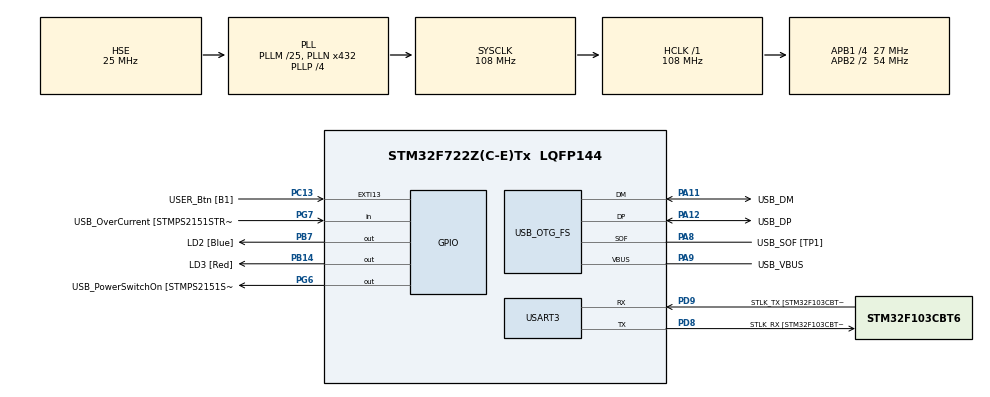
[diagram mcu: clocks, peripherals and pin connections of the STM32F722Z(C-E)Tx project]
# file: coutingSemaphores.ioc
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FREERTOS.Tasks01=defaultTask,0,128,StartDefaultTask,Default,NULL
FREERTOS.configUSE_COUNTING_SEMAPHORES=1
Mcu.Family=STM32F7
Mcu.Name=STM32F722Z(C-E)Tx
Mcu.Package=LQFP144
NVIC.PriorityGroup=NVIC_PRIORITYGROUP_4
NVIC.TIM1_UP_TIM10_IRQn=true\:0\:0\:false\:false\:true\:false\:false
NVIC.TIM8_UP_TIM13_IRQn=true\:5\:0\:false\:false\:true\:true\:true
NVIC.TimeBase=TIM1_UP_TIM10_IRQn
NVIC.TimeBaseIP=TIM1
PA10.GPIO_Label=USB_ID
PA10.Signal=USB_OTG_FS_ID
PA11.GPIO_Label=USB_DM
PA11.Mode=Device_Only
PA11.Signal=USB_OTG_FS_DM
PA12.GPIO_Label=USB_DP
PA12.Mode=Device_Only
PA12.Signal=USB_OTG_FS_DP
PA13.GPIO_Label=TMS
PA13.Mode=Serial_Wire
PA13.Signal=SYS_JTMS-SWDIO
PA14.GPIO_Label=TCK
PA14.Mode=Serial_Wire
PA14.Signal=SYS_JTCK-SWCLK
PA8.GPIO_Label=USB_SOF [TP1]
PA8.Mode=Activate_SOF_FS
PA8.Signal=USB_OTG_FS_SOF
PA9.GPIO_Label=USB_VBUS
PA9.Mode=Activate_VBUS
PA9.Signal=USB_OTG_FS_VBUS
PB14.GPIO_Label=LD3 [Red]
PB14.Signal=GPIO_Output
PB3.GPIO_Label=SWO
PB3.Signal=SYS_JTDO-SWO
PB7.GPIO_Label=LD2 [Blue]
PB7.Signal=GPIO_Output
PC13.GPIO_Label=USER_Btn [B1]
PC13.Signal=GPXTI13
PC14-OSC32_IN.Mode=LSE-External-Oscillator
PC14-OSC32_IN.Signal=RCC_OSC32_IN
PC15-OSC32_OUT.Mode=LSE-External-Oscillator
PC15-OSC32_OUT.Signal=RCC_OSC32_OUT
PD8.GPIO_Label=STLK_RX [STM32F103CBT6_PA3]
PD8.Mode=Asynchronous
PD8.Signal=USART3_TX
PD9.GPIO_Label=STLK_TX [STM32F103CBT6_PA2]
PD9.Mode=Asynchronous
PD9.Signal=USART3_RX
PG6.GPIO_Label=USB_PowerSwitchOn [STMPS2151STR_EN]
PG6.Signal=GPIO_Output
PG7.GPIO_Label=USB_OverCurrent [STMPS2151STR_FAULT]
PG7.Signal=GPIO_Input
PH0-OSC_IN.GPIO_Label=MCO
PH0-OSC_IN.Mode=HSE-External-Clock-Source
PH0-OSC_IN.Signal=RCC_OSC_IN
PH1-OSC_OUT.Mode=HSE-External-Clock-Source
PH1-OSC_OUT.Signal=RCC_OSC_OUT
ProjectManager.HeapSize=0x200
ProjectManager.StackSize=0x400
ProjectManager.TargetToolchain=SW4STM32
RCC.48MHZClocksFreq_Value=24000000
RCC.AHBFreq_Value=108000000
RCC.APB1CLKDivider=RCC_HCLK_DIV4
RCC.APB1Freq_Value=27000000
RCC.APB1TimFreq_Value=54000000
RCC.APB2CLKDivider=RCC_HCLK_DIV2
RCC.APB2Freq_Value=54000000
RCC.APB2TimFreq_Value=108000000
RCC.CortexFreq_Value=108000000
RCC.HCLKFreq_Value=108000000
RCC.HSE_VALUE=25000000
RCC.HSI_VALUE=16000000
RCC.PLLM=25
RCC.PLLMUL=RCC_PLL_MUL9
RCC.PLLN=432
RCC.PLLP=RCC_PLLP_DIV4
RCC.PLLQ=9
RCC.PRESCALERUSB=RCC_USBCLKSOURCE_PLL_DIV1_5
RCC.SYSCLKFreq_VALUE=108000000
RCC.SYSCLKSource=RCC_SYSCLKSOURCE_PLLCLK
RCC.SYSCLKSourceVirtual=RCC_SYSCLKSOURCE_PLLCLK
RCC.USBFreq_Value=48000000
RCC.VCOOutputFreq_Value=432000000
TIM13.Period=9999
TIM13.Prescaler=1799
USART3.VirtualMode-Asynchronous=VM_ASYNC
USB_OTG_FS.VirtualMode=Device_Only
VP_FREERTOS_VS_ENABLE.Mode=Enabled
VP_SYS_VS_tim1.Mode=TIM1
VP_TIM13_VS_ClockSourceINT.Mode=Enable_Timer
board=NUCLEO-F722ZE

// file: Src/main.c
/**
  ******************************************************************************
  * @file           : main.c
  * @brief          : Main program body
  ******************************************************************************
  * This notice applies to any and all portions of this file
  * that are not between comment pairs USER CODE BEGIN and
  * USER CODE END. Other portions of this file, whether
  * inserted by the user or by software development tools
  * are owned by their respective copyright owners.
  *
  * Copyright (c) 2018 STMicroelectronics International N.V.
  * All rights reserved.
  *
  * Redistribution and use in source and binary forms, with or without
  * modification, are permitted, provided that the following conditions are met:
  *
  * 1. Redistribution of source code must retain the above copyright notice,
  *    this list of conditions and the following disclaimer.
  * 2. Redistributions in binary form must reproduce the above copyright notice,
  *    this list of conditions and the following disclaimer in the documentation
  *    and/or other materials provided with the distribution.
  * 3. Neither the name of STMicroelectronics nor the names of other
  *    contributors to this software may be used to endorse or promote products
  *    derived from this software without specific written permission.
  * 4. This software, including modifications and/or derivative works of this
  *    software, must execute solely and exclusively on microcontroller or
  *    microprocessor devices manufactured by or for STMicroelectronics.
  * 5. Redistribution and use of this software other than as permitted under
  *    this license is void and will automatically terminate your rights under
  *    this license.
  *
  * THIS SOFTWARE IS PROVIDED BY STMICROELECTRONICS AND CONTRIBUTORS "AS IS"
  * AND ANY EXPRESS, IMPLIED OR STATUTORY WARRANTIES, INCLUDING, BUT NOT
  * LIMITED TO, THE IMPLIED WARRANTIES OF MERCHANTABILITY, FITNESS FOR A
  * PARTICULAR PURPOSE AND NON-INFRINGEMENT OF THIRD PARTY INTELLECTUAL PROPERTY
  * RIGHTS ARE DISCLAIMED TO THE FULLEST EXTENT PERMITTED BY LAW. IN NO EVENT
  * SHALL STMICROELECTRONICS OR CONTRIBUTORS BE LIABLE FOR ANY DIRECT, INDIRECT,
  * INCIDENTAL, SPECIAL, EXEMPLARY, OR CONSEQUENTIAL DAMAGES (INCLUDING, BUT NOT
  * LIMITED TO, PROCUREMENT OF SUBSTITUTE GOODS OR SERVICES; LOSS OF USE, DATA,
  * OR PROFITS; OR BUSINESS INTERRUPTION) HOWEVER CAUSED AND ON ANY THEORY OF
  * LIABILITY, WHETHER IN CONTRACT, STRICT LIABILITY, OR TORT (INCLUDING
  * NEGLIGENCE OR OTHERWISE) ARISING IN ANY WAY OUT OF THE USE OF THIS SOFTWARE,
  * EVEN IF ADVISED OF THE POSSIBILITY OF SUCH DAMAGE.
  *
  ******************************************************************************
  */
#include "main.h"
#include "stm32f7xx_hal.h"
#include "cmsis_os.h"

/* USER CODE BEGIN Includes */
#include <IL_debug.h>
#include <string.h>
/* USER CODE END Includes */

TIM_HandleTypeDef htim13;

UART_HandleTypeDef huart3;

PCD_HandleTypeDef hpcd_USB_OTG_FS;

osThreadId defaultTaskHandle;

/* USER CODE BEGIN PV */
/* Private variables ---------------------------------------------------------*/
void * xCoutingSemaphore;
static void vHandlerTask(void * param);
/* USER CODE END PV */

void SystemClock_Config(void);
static void MX_GPIO_Init(void);
static void MX_USART3_UART_Init(void);
static void MX_USB_OTG_FS_PCD_Init(void);
static void MX_TIM13_Init(void);
void StartDefaultTask(void const * argument);

/* USER CODE BEGIN PFP */
/* Private function prototypes -----------------------------------------------*/

/* USER CODE END PFP */

int main(void)
{

  /* MCU Configuration----------------------------------------------------------*/

  /* Reset of all peripherals, Initializes the Flash interface and the Systick. */
  HAL_Init();

  /* Configure the system clock */
  SystemClock_Config();

  /* Initialize all configured peripherals */
  MX_GPIO_Init();
  MX_USART3_UART_Init();
  MX_USB_OTG_FS_PCD_Init();
  MX_TIM13_Init();

  /* USER CODE BEGIN RTOS_SEMAPHORES */
  /* add semaphores, ... */
  xCoutingSemaphore = xSemaphoreCreateCounting(10, 0);
  HAL_TIM_Base_Start_IT(&htim13);
  /* USER CODE END RTOS_SEMAPHORES */

  /* Create the thread(s) */
  /* definition and creation of defaultTask */
  osThreadDef(defaultTask, StartDefaultTask, osPriorityNormal, 0, 128);
  defaultTaskHandle = osThreadCreate(osThread(defaultTask), NULL);

  /* USER CODE BEGIN RTOS_THREADS */
  /* add threads, ... */
  xTaskCreate(vHandlerTask, "handler", 254, NULL,3, NULL);
  /* USER CODE END RTOS_THREADS */

  /* Start scheduler */
  osKernelStart();

  /* We should never get here as control is now taken by the scheduler */

  /* Infinite loop */
  while (1)
  {

  }

}

void SystemClock_Config(void)
{

  RCC_OscInitTypeDef RCC_OscInitStruct;
  RCC_ClkInitTypeDef RCC_ClkInitStruct;
  RCC_PeriphCLKInitTypeDef PeriphClkInitStruct;

    /**Configure the main internal regulator output voltage
    */
  __HAL_RCC_PWR_CLK_ENABLE();

  __HAL_PWR_VOLTAGESCALING_CONFIG(PWR_REGULATOR_VOLTAGE_SCALE3);

    /**Initializes the CPU, AHB and APB busses clocks
    */
  RCC_OscInitStruct.OscillatorType = RCC_OSCILLATORTYPE_HSE;
  RCC_OscInitStruct.HSEState = RCC_HSE_BYPASS;
  RCC_OscInitStruct.PLL.PLLState = RCC_PLL_ON;
  RCC_OscInitStruct.PLL.PLLSource = RCC_PLLSOURCE_HSE;
  RCC_OscInitStruct.PLL.PLLM = 25;
  RCC_OscInitStruct.PLL.PLLN = 432;
  RCC_OscInitStruct.PLL.PLLP = RCC_PLLP_DIV4;
  RCC_OscInitStruct.PLL.PLLQ = 9;
  if (HAL_RCC_OscConfig(&RCC_OscInitStruct) != HAL_OK)
  {
    _Error_Handler(__FILE__, __LINE__);
  }

    /**Initializes the CPU, AHB and APB busses clocks
    */
  RCC_ClkInitStruct.ClockType = RCC_CLOCKTYPE_HCLK|RCC_CLOCKTYPE_SYSCLK
                              |RCC_CLOCKTYPE_PCLK1|RCC_CLOCKTYPE_PCLK2;
  RCC_ClkInitStruct.SYSCLKSource = RCC_SYSCLKSOURCE_PLLCLK;
  RCC_ClkInitStruct.AHBCLKDivider = RCC_SYSCLK_DIV1;
  RCC_ClkInitStruct.APB1CLKDivider = RCC_HCLK_DIV4;
  RCC_ClkInitStruct.APB2CLKDivider = RCC_HCLK_DIV2;

  if (HAL_RCC_ClockConfig(&RCC_ClkInitStruct, FLASH_LATENCY_3) != HAL_OK)
  {
    _Error_Handler(__FILE__, __LINE__);
  }

  PeriphClkInitStruct.PeriphClockSelection = RCC_PERIPHCLK_USART3|RCC_PERIPHCLK_CLK48;
  PeriphClkInitStruct.Usart3ClockSelection = RCC_USART3CLKSOURCE_PCLK1;
  PeriphClkInitStruct.Clk48ClockSelection = RCC_CLK48SOURCE_PLL;
  if (HAL_RCCEx_PeriphCLKConfig(&PeriphClkInitStruct) != HAL_OK)
  {
    _Error_Handler(__FILE__, __LINE__);
  }

    /**Configure the Systick interrupt time
    */
  HAL_SYSTICK_Config(HAL_RCC_GetHCLKFreq()/1000);

    /**Configure the Systick
    */
  HAL_SYSTICK_CLKSourceConfig(SYSTICK_CLKSOURCE_HCLK);

  /* SysTick_IRQn interrupt configuration */
  HAL_NVIC_SetPriority(SysTick_IRQn, 15, 0);
}

/* TIM13 init function */
static void MX_TIM13_Init(void)
{

  htim13.Instance = TIM13;
  htim13.Init.Prescaler = 1799;
  htim13.Init.CounterMode = TIM_COUNTERMODE_UP;
  htim13.Init.Period = 9999;
  htim13.Init.ClockDivision = TIM_CLOCKDIVISION_DIV1;
  htim13.Init.AutoReloadPreload = TIM_AUTORELOAD_PRELOAD_DISABLE;
  if (HAL_TIM_Base_Init(&htim13) != HAL_OK)
  {
    _Error_Handler(__FILE__, __LINE__);
  }

}

/* USART3 init function */
static void MX_USART3_UART_Init(void)
{

  huart3.Instance = USART3;
  huart3.Init.BaudRate = 115200;
  huart3.Init.WordLength = UART_WORDLENGTH_7B;
  huart3.Init.StopBits = UART_STOPBITS_1;
  huart3.Init.Parity = UART_PARITY_NONE;
  huart3.Init.Mode = UART_MODE_TX_RX;
  huart3.Init.HwFlowCtl = UART_HWCONTROL_NONE;
  huart3.Init.OverSampling = UART_OVERSAMPLING_16;
  huart3.Init.OneBitSampling = UART_ONE_BIT_SAMPLE_DISABLE;
  huart3.AdvancedInit.AdvFeatureInit = UART_ADVFEATURE_NO_INIT;
  if (HAL_UART_Init(&huart3) != HAL_OK)
  {
    _Error_Handler(__FILE__, __LINE__);
  }

}

/* USB_OTG_FS init function */
static void MX_USB_OTG_FS_PCD_Init(void)
{

  hpcd_USB_OTG_FS.Instance = USB_OTG_FS;
  hpcd_USB_OTG_FS.Init.dev_endpoints = 6;
  hpcd_USB_OTG_FS.Init.dma_enable = DISABLE;
  hpcd_USB_OTG_FS.Init.ep0_mps = DEP0CTL_MPS_64;
  hpcd_USB_OTG_FS.Init.phy_itface = PCD_PHY_EMBEDDED;
  hpcd_USB_OTG_FS.Init.Sof_enable = ENABLE;
  hpcd_USB_OTG_FS.Init.low_power_enable = DISABLE;
  hpcd_USB_OTG_FS.Init.lpm_enable = DISABLE;
  hpcd_USB_OTG_FS.Init.battery_charging_enable = ENABLE;
  hpcd_USB_OTG_FS.Init.vbus_sensing_enable = ENABLE;
  hpcd_USB_OTG_FS.Init.use_dedicated_ep1 = DISABLE;
  if (HAL_PCD_Init(&hpcd_USB_OTG_FS) != HAL_OK)
  {
    _Error_Handler(__FILE__, __LINE__);
  }

}

/** Configure pins as
        * Analog
        * Input
        * Output
        * EVENT_OUT
        * EXTI
*/
static void MX_GPIO_Init(void)
{

  GPIO_InitTypeDef GPIO_InitStruct;

  /* GPIO Ports Clock Enable */
  __HAL_RCC_GPIOC_CLK_ENABLE();
  __HAL_RCC_GPIOH_CLK_ENABLE();
  __HAL_RCC_GPIOB_CLK_ENABLE();
  __HAL_RCC_GPIOD_CLK_ENABLE();
  __HAL_RCC_GPIOG_CLK_ENABLE();
  __HAL_RCC_GPIOA_CLK_ENABLE();

  /*Configure GPIO pin Output Level */
  HAL_GPIO_WritePin(GPIOB, LD3_Pin|LD2_Pin, GPIO_PIN_RESET);

  /*Configure GPIO pin Output Level */
  HAL_GPIO_WritePin(USB_PowerSwitchOn_GPIO_Port, USB_PowerSwitchOn_Pin, GPIO_PIN_RESET);

  /*Configure GPIO pin : USER_Btn_Pin */
  GPIO_InitStruct.Pin = USER_Btn_Pin;
  GPIO_InitStruct.Mode = GPIO_MODE_IT_RISING;
  GPIO_InitStruct.Pull = GPIO_NOPULL;
  HAL_GPIO_Init(USER_Btn_GPIO_Port, &GPIO_InitStruct);

  /*Configure GPIO pins : LD3_Pin LD2_Pin */
  GPIO_InitStruct.Pin = LD3_Pin|LD2_Pin;
  GPIO_InitStruct.Mode = GPIO_MODE_OUTPUT_PP;
  GPIO_InitStruct.Pull = GPIO_NOPULL;
  GPIO_InitStruct.Speed = GPIO_SPEED_FREQ_LOW;
  HAL_GPIO_Init(GPIOB, &GPIO_InitStruct);

  /*Configure GPIO pin : USB_PowerSwitchOn_Pin */
  GPIO_InitStruct.Pin = USB_PowerSwitchOn_Pin;
  GPIO_InitStruct.Mode = GPIO_MODE_OUTPUT_PP;
  GPIO_InitStruct.Pull = GPIO_NOPULL;
  GPIO_InitStruct.Speed = GPIO_SPEED_FREQ_LOW;
  HAL_GPIO_Init(USB_PowerSwitchOn_GPIO_Port, &GPIO_InitStruct);

  /*Configure GPIO pin : USB_OverCurrent_Pin */
  GPIO_InitStruct.Pin = USB_OverCurrent_Pin;
  GPIO_InitStruct.Mode = GPIO_MODE_INPUT;
  GPIO_InitStruct.Pull = GPIO_NOPULL;
  HAL_GPIO_Init(USB_OverCurrent_GPIO_Port, &GPIO_InitStruct);

}

/* USER CODE BEGIN 4 */
static void vHandlerTask(void * param)
{
	xSemaphoreTake(xCoutingSemaphore,0);
	for(;;)
	{
		xSemaphoreTake(xCoutingSemaphore, portMAX_DELAY);
		char * str = "Handler\n";
		_write(str, strlen(str));
	}
}
/* USER CODE END 4 */

/* StartDefaultTask function */
void StartDefaultTask(void const * argument)
{

  for(;;)
  {
    osDelay(1);
  }
}

void HAL_TIM_PeriodElapsedCallback(TIM_HandleTypeDef *htim)
{
  if (htim->Instance == TIM1) {
    HAL_IncTick();
  }
  /* USER CODE BEGIN Callback 1 */
  if(htim->Instance == TIM13)
  {
	  portBASE_TYPE pxHigerPriorityTaskWoken = pdFALSE;
	  HAL_GPIO_TogglePin(LD2_GPIO_Port, LD2_Pin);
	  char * str = "Timer13\n";
	  xSemaphoreGiveFromISR(xCoutingSemaphore, pxHigerPriorityTaskWoken);
	  xSemaphoreGiveFromISR(xCoutingSemaphore, pxHigerPriorityTaskWoken);
	  xSemaphoreGiveFromISR(xCoutingSemaphore, pxHigerPriorityTaskWoken);
	  _write(str, strlen(str));
	  portEND_SWITCHING_ISR(pxHigerPriorityTaskWoken);
  }
  /* USER CODE END Callback 1 */
}

void _Error_Handler(char *file, int line)
{
  while(1)
  {
  }
}

/************************ (C) COPYRIGHT STMicroelectronics *****END OF FILE****/
